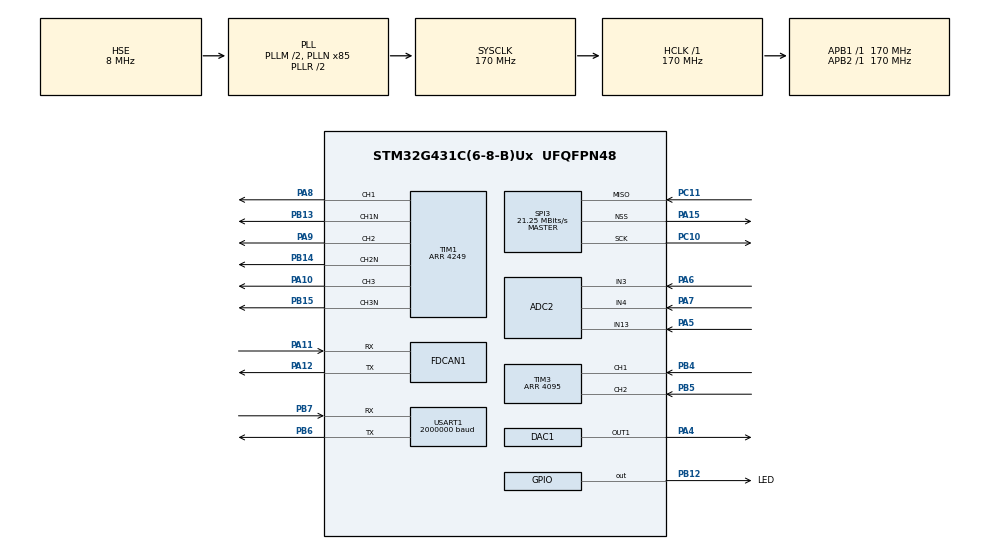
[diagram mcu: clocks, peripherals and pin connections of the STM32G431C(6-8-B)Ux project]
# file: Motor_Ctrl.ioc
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ADC2.Channel-0\#ChannelRegularConversion=ADC_CHANNEL_3
ADC2.ContinuousConvMode=ENABLE
ADC2.EnableInjectedConversion=ENABLE
ADC2.ExternalTrigInjecConv=ADC_EXTERNALTRIGINJEC_T1_CC4
ADC2.ExternalTrigInjecConvEdge=ADC_EXTERNALTRIGINJECCONV_EDGE_FALLING
ADC2.InjNumberOfConversion=3
ADC2.InjectedChannel-1\#ChannelInjectedConversion=ADC_CHANNEL_13
ADC2.InjectedChannel-2\#ChannelInjectedConversion=ADC_CHANNEL_3
ADC2.InjectedChannel-3\#ChannelInjectedConversion=ADC_CHANNEL_4
ADC2.InjectedOffsetNumber-1\#ChannelInjectedConversion=ADC_OFFSET_NONE
ADC2.InjectedOffsetNumber-2\#ChannelInjectedConversion=ADC_OFFSET_NONE
ADC2.InjectedOffsetNumber-3\#ChannelInjectedConversion=ADC_OFFSET_NONE
ADC2.InjectedRank-1\#ChannelInjectedConversion=1
ADC2.InjectedRank-2\#ChannelInjectedConversion=2
ADC2.InjectedRank-3\#ChannelInjectedConversion=3
ADC2.InjectedSamplingTime-1\#ChannelInjectedConversion=ADC_SAMPLETIME_2CYCLES_5
ADC2.InjectedSamplingTime-2\#ChannelInjectedConversion=ADC_SAMPLETIME_2CYCLES_5
ADC2.InjectedSamplingTime-3\#ChannelInjectedConversion=ADC_SAMPLETIME_2CYCLES_5
ADC2.NbrOfConversionFlag=1
ADC2.OffsetNumber-0\#ChannelRegularConversion=ADC_OFFSET_NONE
ADC2.Rank-0\#ChannelRegularConversion=1
ADC2.Rank1_Channel=ADC_CHANNEL_13
ADC2.Rank2_Channel=ADC_CHANNEL_3
ADC2.Rank3_Channel=ADC_CHANNEL_4
ADC2.SamplingTime-0\#ChannelRegularConversion=ADC_SAMPLETIME_2CYCLES_5
FDCAN1.CalculateBaudRateNominal=3541666
FDCAN1.CalculateTimeBitNominal=282
FDCAN1.CalculateTimeQuantumNominal=94.11764705882354
Mcu.Family=STM32G4
Mcu.Name=STM32G431C(6-8-B)Ux
Mcu.Package=UFQFPN48
NVIC.ADC1_2_IRQn=true\:0\:0\:false\:false\:true\:true\:true\:true
NVIC.PriorityGroup=NVIC_PRIORITYGROUP_4
NVIC.TIM1_BRK_TIM15_IRQn=true\:0\:0\:false\:false\:true\:true\:true\:true
NVIC.TIM1_CC_IRQn=true\:0\:0\:false\:false\:true\:true\:true\:true
NVIC.TIM1_TRG_COM_TIM17_IRQn=true\:0\:0\:false\:false\:true\:true\:true\:true
NVIC.TIM1_UP_TIM16_IRQn=true\:0\:0\:false\:false\:true\:true\:true\:true
PA10.Signal=S_TIM1_CH3
PA11.Mode=FDCAN_Activate
PA11.Signal=FDCAN1_RX
PA12.Mode=FDCAN_Activate
PA12.Signal=FDCAN1_TX
PA13.Mode=Serial_Wire
PA13.Signal=SYS_JTMS-SWDIO
PA14.Mode=Serial_Wire
PA14.Signal=SYS_JTCK-SWCLK
PA15.Mode=NSS_Signal_Hard_Output
PA15.Signal=SPI3_NSS
PA4.Signal=COMP_DAC11_group
PA5.Mode=IN13-Single-Ended
PA5.Signal=ADC2_IN13
PA6.Mode=IN3-Single-Ended
PA6.Signal=ADC2_IN3
PA7.Mode=IN4-Single-Ended
PA7.Signal=ADC2_IN4
PA8.Signal=S_TIM1_CH1
PA9.Signal=S_TIM1_CH2
PB12.GPIO_Label=LED
PB12.GPIO_PuPd=GPIO_PULLUP
PB12.Signal=GPIO_Output
PB13.Mode=PWM Generation1 CH1 CH1N
PB13.Signal=TIM1_CH1N
PB14.Mode=PWM Generation2 CH2 CH2N
PB14.Signal=TIM1_CH2N
PB15.Mode=PWM Generation3 CH3 CH3N
PB15.Signal=TIM1_CH3N
PB4.Signal=S_TIM3_CH1
PB5.Signal=S_TIM3_CH2
PB6.Mode=Asynchronous
PB6.Signal=USART1_TX
PB7.Mode=Asynchronous
PB7.Signal=USART1_RX
PC10.Mode=RX_Only_Simplex_Unidirect_Master
PC10.Signal=SPI3_SCK
PC11.Mode=RX_Only_Simplex_Unidirect_Master
PC11.Signal=SPI3_MISO
PF0-OSC_IN.Mode=HSE-External-Oscillator
PF0-OSC_IN.Signal=RCC_OSC_IN
PF1-OSC_OUT.Mode=HSE-External-Oscillator
PF1-OSC_OUT.Signal=RCC_OSC_OUT
ProjectManager.HeapSize=0x200
ProjectManager.StackSize=0x400
ProjectManager.TargetToolchain=MDK-ARM V5.32
RCC.ADC12Freq_Value=170000000
RCC.AHBFreq_Value=170000000
RCC.APB1Freq_Value=170000000
RCC.APB1TimFreq_Value=170000000
RCC.APB2Freq_Value=170000000
RCC.APB2TimFreq_Value=170000000
RCC.CortexFreq_Value=170000000
RCC.EXTERNAL_CLOCK_VALUE=12288000
RCC.HCLKFreq_Value=170000000
RCC.HSE_VALUE=8000000
RCC.HSI48_VALUE=48000000
RCC.HSI_VALUE=16000000
RCC.LSE_VALUE=32768
RCC.PLLM=RCC_PLLM_DIV2
RCC.PLLN=85
RCC.PLLSourceVirtual=RCC_PLLSOURCE_HSE
RCC.SYSCLKFreq_VALUE=170000000
RCC.SYSCLKSource=RCC_SYSCLKSOURCE_PLLCLK
RCC.USBFreq_Value=170000000
RCC.VCOOutputFreq_Value=340000000
SH.COMP_DAC11_group.0=DAC1_OUT1,DAC_OUT1_ExtAndInt
SH.S_TIM1_CH1.0=TIM1_CH1,PWM Generation1 CH1 CH1N
SH.S_TIM1_CH2.0=TIM1_CH2,PWM Generation2 CH2 CH2N
SH.S_TIM1_CH3.0=TIM1_CH3,PWM Generation3 CH3 CH3N
SH.S_TIM3_CH1.0=TIM3_CH1,Encoder_Interface
SH.S_TIM3_CH2.0=TIM3_CH2,Encoder_Interface
SPI3.BaudRatePrescaler=SPI_BAUDRATEPRESCALER_8
SPI3.CalculateBaudRate=21.25 MBits/s
SPI3.Direction=SPI_DIRECTION_2LINES_RXONLY
SPI3.Mode=SPI_MODE_MASTER
SPI3.VirtualNSS=VM_NSSHARD
SPI3.VirtualType=VM_MASTER
TIM1.AutoReloadPreload=TIM_AUTORELOAD_PRELOAD_ENABLE
TIM1.Channel-PWM\ Generation1\ CH1\ CH1N=TIM_CHANNEL_1
TIM1.Channel-PWM\ Generation2\ CH2\ CH2N=TIM_CHANNEL_2
TIM1.Channel-PWM\ Generation3\ CH3\ CH3N=TIM_CHANNEL_3
TIM1.Channel-PWM\ Generation4\ No\ Output=TIM_CHANNEL_4
TIM1.CounterMode=TIM_COUNTERMODE_CENTERALIGNED1
TIM1.PeriodNoDither=4249
TIM1.PulseNoDither_4=4248
TIM3.AutoReloadPreload=TIM_AUTORELOAD_PRELOAD_ENABLE
TIM3.EncoderMode=TIM_ENCODERMODE_TI12
TIM3.IC1Filter=2
TIM3.IC2Filter=2
TIM3.PeriodNoDither=4095
USART1.BaudRate=2000000
USART1.VirtualMode-Asynchronous=VM_ASYNC
VP_SYS_VS_DBSignals.Mode=DisableDeadBatterySignals
VP_TIM1_VS_ClockSourceINT.Mode=Internal
VP_TIM1_VS_no_output4.Mode=PWM Generation4 No Output
board=custom

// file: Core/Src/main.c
/* USER CODE BEGIN Header */
/**
  ******************************************************************************
  * @file           : main.c
  * @brief          : Main program body
  ******************************************************************************
  * @attention
  *
  * Copyright (c) 2026 STMicroelectronics.
  * All rights reserved.
  *
  * This software is licensed under terms that can be found in the LICENSE file
  * in the root directory of this software component.
  * If no LICENSE file comes with this software, it is provided AS-IS.
  *
  ******************************************************************************
  */
/* USER CODE END Header */
#include "main.h"
#include "adc.h"
#include "dac.h"
#include "fdcan.h"
#include "spi.h"
#include "tim.h"
#include "usart.h"
#include "gpio.h"

/* USER CODE BEGIN Includes */
#include "usb.h"
#include "FOC.h"

/* USER CODE END Includes */

/* USER CODE BEGIN PM */
#define ANGLE_RES 400
float delta_theta = _2PI / ANGLE_RES;
int y;
static void (*ADC_Callback_Handler)(ADC_HandleTypeDef *hadc) = NULL;
/* USER CODE END PM */

void SystemClock_Config(void);

int main(void)
{

  /* MCU Configuration--------------------------------------------------------*/

  /* Reset of all peripherals, Initializes the Flash interface and the Systick. */
  HAL_Init();

  /* Configure the system clock */
  SystemClock_Config();

  /* Initialize all configured peripherals */
  MX_GPIO_Init();
  MX_ADC2_Init();
  MX_DAC1_Init();
  MX_FDCAN1_Init();
  MX_SPI3_Init();
  MX_TIM1_Init();
  MX_TIM3_Init();
  MX_USART1_UART_Init();
  /* USER CODE BEGIN 2 */
	__HAL_TIM_ENABLE(&htim1);
	HAL_TIM_Base_Start(&htim3);
	HAL_TIM_Encoder_Start(&htim3,TIM_CHANNEL_1);
	HAL_TIM_Encoder_Start(&htim3,TIM_CHANNEL_2);

	HAL_TIM_PWM_Start(&htim1,TIM_CHANNEL_1);
	HAL_TIMEx_PWMN_Start(&htim1,TIM_CHANNEL_1);
	HAL_TIM_PWM_Start(&htim1,TIM_CHANNEL_2);
	HAL_TIMEx_PWMN_Start(&htim1,TIM_CHANNEL_2);
	HAL_TIM_PWM_Start(&htim1,TIM_CHANNEL_3);
	HAL_TIMEx_PWMN_Start(&htim1,TIM_CHANNEL_3);

	ADC_Handler_Init();

	HAL_ADCEx_Calibration_Start(&hadc2, ADC_SINGLE_ENDED);
	HAL_ADCEx_InjectedStart(&hadc2);
	__HAL_ADC_ENABLE_IT(&hadc2, ADC_IT_JEOC);
	HAL_TIM_PWM_Start(&htim1,TIM_CHANNEL_4);
	__HAL_TIM_ENABLE_IT(&htim1,TIM_IT_UPDATE);

  /* USER CODE END 2 */

  /* Infinite loop */
  while (1)
  {

    /* USER CODE BEGIN 3 */
//usb_printf("ok\n");
//HAL_GPIO_TogglePin(GPIOB,GPIO_PIN_12);
//HAL_Delay(500);
   //12313
	//HAL_Delay(1);
  }
  /* USER CODE END 3 */
}

void SystemClock_Config(void)
{
  RCC_OscInitTypeDef RCC_OscInitStruct = {0};
  RCC_ClkInitTypeDef RCC_ClkInitStruct = {0};

  /** Configure the main internal regulator output voltage
  */
  HAL_PWREx_ControlVoltageScaling(PWR_REGULATOR_VOLTAGE_SCALE1_BOOST);

  /** Initializes the RCC Oscillators according to the specified parameters
  * in the RCC_OscInitTypeDef structure.
  */
  RCC_OscInitStruct.OscillatorType = RCC_OSCILLATORTYPE_HSE;
  RCC_OscInitStruct.HSEState = RCC_HSE_ON;
  RCC_OscInitStruct.PLL.PLLState = RCC_PLL_ON;
  RCC_OscInitStruct.PLL.PLLSource = RCC_PLLSOURCE_HSE;
  RCC_OscInitStruct.PLL.PLLM = RCC_PLLM_DIV2;
  RCC_OscInitStruct.PLL.PLLN = 85;
  RCC_OscInitStruct.PLL.PLLP = RCC_PLLP_DIV2;
  RCC_OscInitStruct.PLL.PLLQ = RCC_PLLQ_DIV2;
  RCC_OscInitStruct.PLL.PLLR = RCC_PLLR_DIV2;
  if (HAL_RCC_OscConfig(&RCC_OscInitStruct) != HAL_OK)
  {
    Error_Handler();
  }

  /** Initializes the CPU, AHB and APB buses clocks
  */
  RCC_ClkInitStruct.ClockType = RCC_CLOCKTYPE_HCLK|RCC_CLOCKTYPE_SYSCLK
                              |RCC_CLOCKTYPE_PCLK1|RCC_CLOCKTYPE_PCLK2;
  RCC_ClkInitStruct.SYSCLKSource = RCC_SYSCLKSOURCE_PLLCLK;
  RCC_ClkInitStruct.AHBCLKDivider = RCC_SYSCLK_DIV1;
  RCC_ClkInitStruct.APB1CLKDivider = RCC_HCLK_DIV1;
  RCC_ClkInitStruct.APB2CLKDivider = RCC_HCLK_DIV1;

  if (HAL_RCC_ClockConfig(&RCC_ClkInitStruct, FLASH_LATENCY_4) != HAL_OK)
  {
    Error_Handler();
  }
}

/* USER CODE BEGIN 4 */

void HAL_ADCEx_InjectedConvCpltCallback(ADC_HandleTypeDef *hadc)
{
	 if (ADC_Callback_Handler != NULL)
    {
        ADC_Callback_Handler(hadc);   // �����Զ�����У׼ �� ��������
    }
}

void ADC_Handler_Init(void)
{
	//
    ADC_Callback_Handler = ADC_Calibration_Handler;
}

#define ADC_CALIB_SAMPLES  100
float ADCvalue_Offset[3];
float ADCvalue[3];
uint16_t cnt;

static void ADC_Calibration_Handler(ADC_HandleTypeDef *hadc)
{
	static uint16_t calib_count = 0;
	static float  sum[3] = {0};
	sum[0] += HAL_ADCEx_InjectedGetValue(&hadc2, ADC_INJECTED_RANK_1) * 3.3f / 4095.0f*2.5f;
	sum[1] += HAL_ADCEx_InjectedGetValue(&hadc2, ADC_INJECTED_RANK_2) * 3.3f / 4095.0f*2.5f;
	sum[2] += HAL_ADCEx_InjectedGetValue(&hadc2, ADC_INJECTED_RANK_3) * 3.3f / 4095.0f*2.5f;
	calib_count++;
	if (calib_count >= ADC_CALIB_SAMPLES)
	{
        ADCvalue_Offset[0] = sum[0] / ADC_CALIB_SAMPLES;
        ADCvalue_Offset[1] = sum[1] / ADC_CALIB_SAMPLES;
        ADCvalue_Offset[2] = sum[2] / ADC_CALIB_SAMPLES;
//        USART1_Printf("ADC Offset: ia=%.4f, ib=%.4f, ic=%.4f\n",
//                      ADCvalue_Offset[0], ADCvalue_Offset[1], ADCvalue_Offset[2]);
        // �л����������д�����
        ADC_Callback_Handler = ADC_Normal_Handler;
	}

}

static void ADC_Normal_Handler(ADC_HandleTypeDef *hadc)
{
	ADCvalue[0]= HAL_ADCEx_InjectedGetValue(&hadc2, ADC_INJECTED_RANK_1)* 3.3f / 4095.0f*2.5f  - ADCvalue_Offset[0];//t1:start
	ADCvalue[1]= HAL_ADCEx_InjectedGetValue(&hadc2, ADC_INJECTED_RANK_2)* 3.3f / 4095.0f*2.5f  - ADCvalue_Offset[1];
	ADCvalue[2]= HAL_ADCEx_InjectedGetValue(&hadc2, ADC_INJECTED_RANK_3)* 3.3f / 4095.0f*2.5f  - ADCvalue_Offset[2];
	cnt= __HAL_TIM_GET_COUNTER(&htim3);

	y%=400;
	y++;
	setPhaseVoltage(1,0,y*delta_theta);
	usb_printf("%4f,%4f,%4f,%d\n",ADCvalue[0],ADCvalue[1],ADCvalue[2],cnt);

}

/* USER CODE END 4 */

void Error_Handler(void)
{
  __disable_irq();
  while (1)
  {
  }
}
